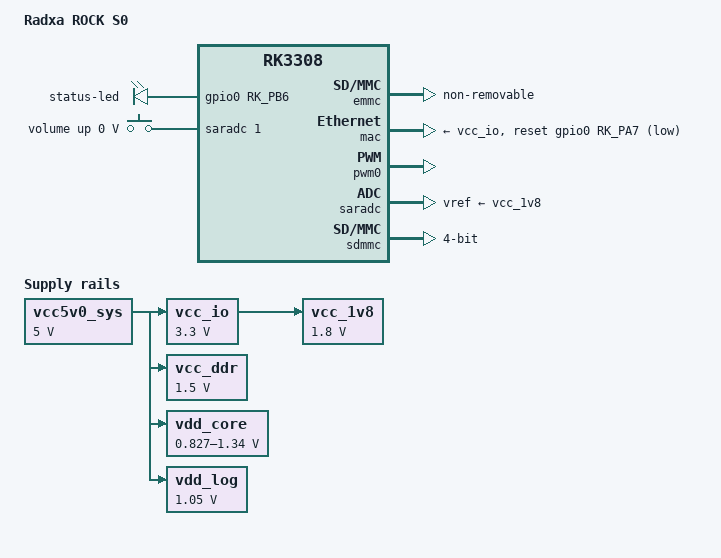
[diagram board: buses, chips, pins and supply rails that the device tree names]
// SPDX-License-Identifier: (GPL-2.0+ OR MIT)
/*
 * Copyright (c) 2019 Fuzhou Rockchip Electronics Co., Ltd
 * Copyright (C) 2023 Akash Gajjar <gajjar04akash@gmail.com>
 * Copyright (c) 2023 Jagan Teki <jagan@openedev.com>
 * Copyright (c) 2026 Radxa Computer (Shenzhen) Co., Ltd.
 */

/dts-v1/;
#include <dt-bindings/gpio/gpio.h>
#include <dt-bindings/pinctrl/rockchip.h>
#include <dt-bindings/input/input.h>
#include "rk3308.dtsi"
#include "rk3308-u-boot.dtsi"

/ {
	model = "Radxa ROCK S0";
	compatible = "radxa,rock-s0", "rockchip,rk3308";

	gpio_leds: gpio-leds {
		compatible = "gpio-leds";
		pinctrl-names = "default";

		status-led {
			gpios = <&gpio0 RK_PB6 GPIO_ACTIVE_HIGH>;
			linux,default-trigger = "heartbeat";
			default-state = "on";
		};
	};

	vcc_1v8: vcc-1v8 {
		compatible = "regulator-fixed";
		regulator-name = "vcc_1v8";
		regulator-always-on;
		regulator-boot-on;
		regulator-min-microvolt = <1800000>;
		regulator-max-microvolt = <1800000>;
		vin-supply = <&vcc_io>;
	};

	vcc_io: vcc-io {
		compatible = "regulator-fixed";
		regulator-name = "vcc_io";
		regulator-always-on;
		regulator-boot-on;
		regulator-min-microvolt = <3300000>;
		regulator-max-microvolt = <3300000>;
		vin-supply = <&vcc5v0_sys>;
	};

	vcc_ddr: vcc-ddr {
		compatible = "regulator-fixed";
		regulator-name = "vcc_ddr";
		regulator-always-on;
		regulator-boot-on;
		regulator-min-microvolt = <1500000>;
		regulator-max-microvolt = <1500000>;
		vin-supply = <&vcc5v0_sys>;
	};

	vcc5v0_sys: vcc5v0-sys {
		compatible = "regulator-fixed";
		regulator-name = "vcc5v0_sys";
		regulator-always-on;
		regulator-boot-on;
		regulator-min-microvolt = <5000000>;
		regulator-max-microvolt = <5000000>;
	};

	vdd_core: vdd-core {
		compatible = "pwm-regulator";
		pwms = <&pwm0 0 5000 1>;
		pwm-supply = <&vcc5v0_sys>;
		regulator-name = "vdd_core";
		regulator-min-microvolt = <827000>;
		regulator-max-microvolt = <1340000>;
		regulator-init-microvolt = <1015000>;
		regulator-settling-time-up-us = <250>;
		regulator-always-on;
		regulator-boot-on;
	};

	vdd_log: vdd-log {
		compatible = "regulator-fixed";
		regulator-name = "vdd_log";
		regulator-always-on;
		regulator-boot-on;
		regulator-min-microvolt = <1050000>;
		regulator-max-microvolt = <1050000>;
		vin-supply = <&vcc5v0_sys>;
	};

	adc-keys {
		compatible = "adc-keys";
		io-channels = <&saradc 1>;
		io-channel-names = "buttons";
		keyup-threshold-microvolt = <1800000>;
		u-boot,dm-spl;
		status = "okay";

		volumeup-key {
			u-boot,dm-spl;
			linux,code = <KEY_VOLUMEUP>;
			label = "volume up";
			press-threshold-microvolt = <9>;
		};
	};
};

&cpu0 {
	cpu-supply = <&vdd_core>;
};

&emmc {
	cap-mmc-highspeed;
	supports-emmc;
	non-removable;
	num-slots = <1>;
	status = "okay";
};

&mac {
	clock_in_out = "output";
	phy-supply = <&vcc_io>;
	snps,reset-gpio = <&gpio0 RK_PA7 GPIO_ACTIVE_LOW>;
	snps,reset-active-low;
	snps,reset-delays-us = <0 50000 50000>;
	status = "okay";
};

&pwm0 {
	status = "okay";
};

&saradc {
	vref-supply = <&vcc_1v8>;
	status = "okay";
};

&sdmmc {
	bus-width = <4>;
	status = "okay";
};
